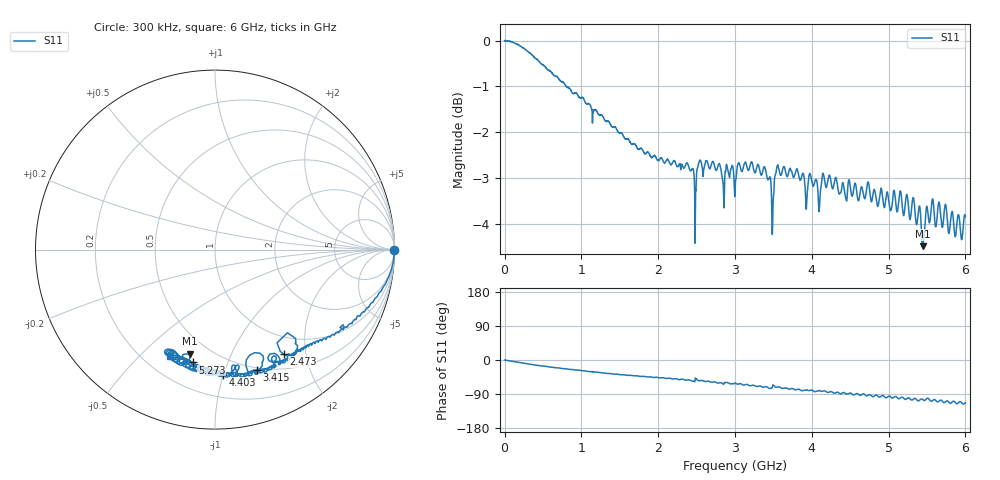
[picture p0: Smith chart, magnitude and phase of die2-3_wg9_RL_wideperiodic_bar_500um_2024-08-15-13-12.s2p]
!Keysight Technologies,P9374A,MY57304198,A.17.20.09
!Date: Thursday, August 15, 2024 13:12:55
!Correction: S11(C  1-Port  )
!S21(C  1-Port  )
!S12(Off)
!S22(Off)
!S2P File: Measurements: S11, S21, S12, S22:
# Hz S  dB  R 50
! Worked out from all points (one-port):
!   6000 points, 300 kHz to 6 GHz, reference 50 ohm
!   lowest |S11| = -4.5 dB at 5.443 GHz (marker M1), VSWR 3.96, Z = 19.7 - j35.5 ohm
!   |S11| at or under -10 dB: nowhere
!   S11 on the Smith chart (normalised r, x): 300 kHz: open; 2.473 GHz: 0.72, -1.61; 3.415 GHz: 0.48, -1.29; 4.403 GHz: 0.36, -1.00; 5.273 GHz: 0.35, -0.76; 6 GHz: 0.31, -0.62
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300000  -0.00 -0.0  -200.00 45.0  -200.00 45.0  -200.00 45.0
4.153484e8  -0.41 -13.9  -200.00 45.0  -200.00 45.0  -200.00 45.0
1.000417e9  -1.25 -28.3  -200.00 45.0  -200.00 45.0  -200.00 45.0
2.000533e9  -2.62 -46.5  -200.00 45.0  -200.00 45.0  -200.00 45.0
2.442585e9  -2.79 -55.7  -200.00 45.0  -200.00 45.0  -200.00 45.0
2.472588e9  -3.15 -56.7  -200.00 45.0  -200.00 45.0  -200.00 45.0
2.513593e9  -2.77 -53.3  -200.00 45.0  -200.00 45.0  -200.00 45.0
2.700615e9  -2.66 -58.9  -200.00 45.0  -200.00 45.0  -200.00 45.0
3.00065e9  -3.26 -60.4  -200.00 45.0  -200.00 45.0  -200.00 45.0
3.414698e9  -2.96 -70.9  -200.00 45.0  -200.00 45.0  -200.00 45.0
3.455703e9  -2.97 -74.9  -200.00 45.0  -200.00 45.0  -200.00 45.0
3.496708e9  -3.49 -66.2  -200.00 45.0  -200.00 45.0  -200.00 45.0
3.627723e9  -2.76 -75.0  -200.00 45.0  -200.00 45.0  -200.00 45.0
4.000767e9  -3.07 -79.6  -200.00 45.0  -200.00 45.0  -200.00 45.0
4.402814e9  -3.10 -86.4  -200.00 45.0  -200.00 45.0  -200.00 45.0
5.000883e9  -3.49 -95.3  -200.00 45.0  -200.00 45.0  -200.00 45.0
5.272915e9  -3.86 -101.3  -200.00 45.0  -200.00 45.0  -200.00 45.0
5.388929e9  -3.70 -107.8  -200.00 45.0  -200.00 45.0  -200.00 45.0
5.442935e9  -4.48 -103.5  -200.00 45.0  -200.00 45.0  -200.00 45.0
5.508943e9  -3.70 -100.9  -200.00 45.0  -200.00 45.0  -200.00 45.0
5.57395e9  -3.46 -106.8  -200.00 45.0  -200.00 45.0  -200.00 45.0
6e9  -3.84 -112.7  -200.00 45.0  -200.00 45.0  -200.00 45.0
